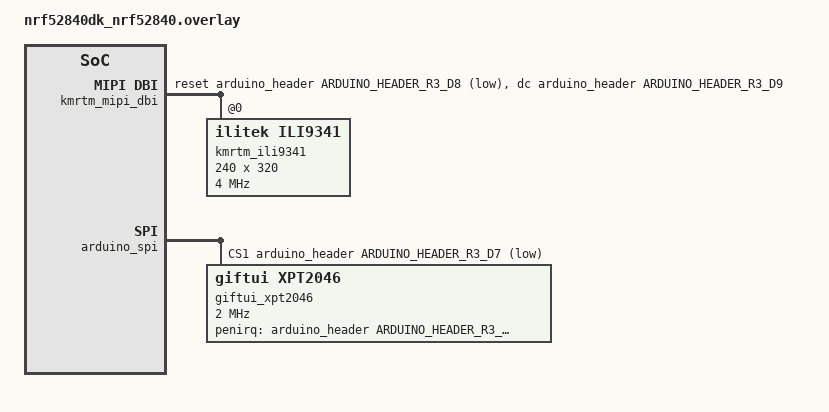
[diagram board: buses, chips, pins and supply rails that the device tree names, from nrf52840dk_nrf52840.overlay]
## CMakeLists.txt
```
cmake_minimum_required(VERSION 3.29)

find_package(Zephyr REQUIRED HINTS $ENV{ZEPHYR_BASE})

if(NOT DEFINED GIFTUI_SWIFT_TARGET)
    message(FATAL_ERROR "GIFTUI_SWIFT_TARGET must be supplied by scripts/nrf52840/build.sh")
endif()
set(CMAKE_Swift_COMPILER_TARGET "${GIFTUI_SWIFT_TARGET}")
set(CMAKE_Swift_COMPILATION_MODE wholemodule)
set(CMAKE_Swift_COMPILER_WORKS TRUE CACHE BOOL "Embedded Swift cross-compiler" FORCE)
project(GiftUIKMRTM24024SPI LANGUAGES C Swift)

target_sources(app PRIVATE
    src/display.c
    src/heap_disabled.c
    src/main.c
    src/xpt2046.c
)
target_include_directories(app PRIVATE include)

if(CONFIG_FP_HARDABI)
    set(giftui_swift_float_abi hard)
elseif(CONFIG_FP_SOFTABI)
    set(giftui_swift_float_abi soft)
else()
    message(FATAL_ERROR "Zephyr did not resolve an ARM float ABI")
endif()

get_target_property(zephyr_defines zephyr_interface INTERFACE_COMPILE_DEFINITIONS)
set(giftui_root "${CMAKE_CURRENT_SOURCE_DIR}/../../../..")
set(giftui_swift_module_dir "${CMAKE_CURRENT_BINARY_DIR}/swift-modules")

function(giftui_configure_swift_target target module_name)
    add_dependencies(${target} syscall_list_h_target)
    set_target_properties(${target} PROPERTIES
        Swift_MODULE_NAME "${module_name}"
        Swift_MODULE_DIRECTORY "${giftui_swift_module_dir}"
    )
    target_compile_options(${target} PRIVATE
        -parse-as-library
        -Osize
        -enable-experimental-feature Embedded
        -package-name GiftUI
        "SHELL:-Xfrontend -function-sections"
        "SHELL:-Xfrontend -disable-stack-protector"
        "SHELL:-Xcc -mfloat-abi=${giftui_swift_float_abi}"
        "SHELL:-Xcc -fshort-enums"
        "SHELL:-Xcc -fno-pic"
        "SHELL:-Xcc -fno-pie"
        "SHELL:-Xcc -I -Xcc ${ZEPHYR_SDK_INSTALL_DIR}/arm-zephyr-eabi/picolibc/include"
    )
    foreach(flag ${TOOLCHAIN_C_FLAGS})
        string(FIND "${flag}" "-imacro" is_imacro)
        string(FIND "${flag}" "-mfp16-format" is_mfp16)
        string(FIND "${flag}" "--sysroot" is_sysroot)
        if(is_imacro EQUAL -1 AND is_mfp16 EQUAL -1 AND is_sysroot EQUAL -1)
            target_compile_options(${target} PRIVATE "SHELL:-Xcc ${flag}")
        endif()
    endforeach()
    if(zephyr_defines)
        foreach(flag ${zephyr_defines})
            string(FIND "${flag}" "$<" is_expression)
            if(is_expression EQUAL -1)
                target_compile_options(${target} PRIVATE "SHELL:-Xcc -D${flag}")
            endif()
        endforeach()
    endif()
    target_include_directories(${target} PRIVATE
        "${giftui_swift_module_dir}"
        "$<TARGET_PROPERTY:app,INCLUDE_DIRECTORIES>"
    )
endfunction()

add_library(giftui_core OBJECT
    ${giftui_root}/Sources/GiftUI/GiftUI.swift
    ${giftui_root}/Sources/GiftUI/Geometry/Point.swift
    ${giftui_root}/Sources/GiftUI/Geometry/ProposedSize.swift
    ${giftui_root}/Sources/GiftUI/Geometry/Rect.swift
    ${giftui_root}/Sources/GiftUI/Geometry/Size.swift
    ${giftui_root}/Sources/GiftUI/Input/ActionID.swift
    ${giftui_root}/Sources/GiftUI/Input/HitRegion.swift
    ${giftui_root}/Sources/GiftUI/Input/InputEvent.swift
    ${giftui_root}/Sources/GiftUI/Layout/LayoutArithmetic.swift
    ${giftui_root}/Sources/GiftUI/Rendering/Color.swift
    ${giftui_root}/Sources/GiftUI/Rendering/RenderBackend.swift
    ${giftui_root}/Sources/GiftUI/Rendering/RenderOperation.swift
    ${giftui_root}/Sources/GiftUI/Rendering/RenderOperationSink.swift
    ${giftui_root}/Sources/GiftUI/Rendering/TextRun.swift
    ${giftui_root}/Sources/GiftUI/Runtime/RuntimeProfile.swift
    ${giftui_root}/Sources/GiftUI/View/PrimitiveView.swift
    ${giftui_root}/Sources/GiftUI/View/View.swift
    ${giftui_root}/Sources/GiftUI/View/ViewBuilder.swift
    ${giftui_root}/Sources/GiftUI/View/ViewVisitor.swift
    ${giftui_root}/Sources/GiftUI/Composition/ConditionalContent.swift
    ${giftui_root}/Sources/GiftUI/Composition/EmptyView.swift
    ${giftui_root}/Sources/GiftUI/Composition/OptionalContent.swift
    ${giftui_root}/Sources/GiftUI/Composition/TupleView.swift
    ${giftui_root}/Sources/GiftUI/Containers/HStack.swift
    ${giftui_root}/Sources/GiftUI/Containers/VStack.swift
    ${giftui_root}/Sources/GiftUI/PrimitiveViews/Button.swift
    ${giftui_root}/Sources/GiftUI/PrimitiveViews/Text.swift
)
giftui_configure_swift_target(giftui_core GiftUI)

add_library(giftui_builtin_font OBJECT
    ${giftui_root}/Sources/GiftUIBuiltinFont/BuiltinFont8x12.swift
    ${giftui_root}/Sources/GiftUIBuiltinFont/GiftUIBuiltinFont.swift
)
giftui_configure_swift_target(giftui_builtin_font GiftUIBuiltinFont)

add_library(giftui_runtime_static OBJECT
    ${giftui_root}/Sources/GiftUIRuntimeStatic/GiftUIRuntimeStatic.swift
    ${giftui_root}/Sources/GiftUIRuntimeStatic/StaticStateStorage.swift
    ${giftui_root}/Sources/GiftUIRuntimeStatic/StaticRuntime.swift
)
giftui_configure_swift_target(giftui_runtime_static GiftUIRuntimeStatic)
target_link_libraries(giftui_runtime_static PRIVATE giftui_core)

add_library(giftui_rgb565 OBJECT
    ${giftui_root}/Sources/GiftUIBackendRGB565/GiftUIBackendRGB565.swift
    ${giftui_root}/Sources/GiftUIBackendRGB565/RGB565Pixel.swift
    ${giftui_root}/Sources/GiftUIBackendRGB565/RGB565RetainedRenderer.swift
    ${giftui_root}/Sources/GiftUIBackendRGB565/RGB565RendererConfiguration.swift
    ${giftui_root}/Sources/GiftUIBackendRGB565/RGB565TileRenderer.swift
    ${giftui_root}/Sources/GiftUIBackendRGB565/RGB565TileStorage.swift
)
giftui_configure_swift_target(giftui_rgb565 GiftUIBackendRGB565)
target_link_libraries(giftui_rgb565 PRIVATE giftui_core giftui_builtin_font)

add_library(giftui_ads7846_input OBJECT
    ${giftui_root}/Sources/GiftUIInputADS7846/GiftUIInputADS7846.swift
    ${giftui_root}/Sources/GiftUIInputADS7846/ADS7846RawSample.swift
    ${giftui_root}/Sources/GiftUIInputADS7846/ADS7846Calibration.swift
    ${giftui_root}/Sources/GiftUIInputADS7846/ADS7846TouchProcessor.swift
)
giftui_configure_swift_target(giftui_ads7846_input GiftUIInputADS7846)
target_link_libraries(giftui_ads7846_input PRIVATE giftui_core)

add_library(giftui_ili9341_display OBJECT
    ${giftui_root}/Sources/GiftUIDisplayILI9341/GiftUIDisplayILI9341.swift
    ${giftui_root}/Sources/GiftUIDisplayILI9341/ILI9341Display.swift
    ${giftui_root}/Sources/GiftUIDisplayILI9341/ILI9341DisplayConfiguration.swift
    ${giftui_root}/Sources/GiftUIDisplayILI9341/ILI9341DisplayTransport.swift
)
giftui_configure_swift_target(giftui_ili9341_display GiftUIDisplayILI9341)
target_link_libraries(giftui_ili9341_display PRIVATE giftui_core giftui_rgb565)

add_library(giftui_thermostat_view OBJECT
    ${giftui_root}/Sources/GiftUIExampleThermostatPortableView/ThermostatModel.swift
    ${giftui_root}/Sources/GiftUIExampleThermostatPortableView/ThermostatPortableView.swift
)
giftui_configure_swift_target(
    giftui_thermostat_view
    GiftUIExampleThermostatPortableView
)
target_link_libraries(giftui_thermostat_view PRIVATE giftui_core)

add_library(app_swift OBJECT src/KMRTM24024SPIApplication.swift)
giftui_configure_swift_target(app_swift GiftUIKMRTM24024SPIApplication)
target_link_libraries(app_swift PRIVATE
    giftui_ads7846_input
    giftui_core
    giftui_ili9341_display
    giftui_rgb565
    giftui_runtime_static
    giftui_thermostat_view
)

target_link_libraries(app PRIVATE
    app_swift
    giftui_ads7846_input
    giftui_builtin_font
    giftui_core
    giftui_ili9341_display
    giftui_rgb565
    giftui_runtime_static
    giftui_thermostat_view
)
set_target_properties(app PROPERTIES LINKER_LANGUAGE C)
```

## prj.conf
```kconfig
CONFIG_GPIO=y
CONFIG_SPI=y
CONFIG_DISPLAY=y
CONFIG_FPU=y
CONFIG_SERIAL=y
CONFIG_CONSOLE=y
CONFIG_UART_CONSOLE=y
CONFIG_PRINTK=y
CONFIG_STDOUT_CONSOLE=y
CONFIG_BUILD_OUTPUT_HEX=y
CONFIG_BUILD_OUTPUT_BIN=y
CONFIG_OUTPUT_PRINT_MEMORY_USAGE=y
CONFIG_HEAP_MEM_POOL_SIZE=0
CONFIG_COMMON_LIBC_MALLOC_ARENA_SIZE=0
CONFIG_INIT_STACKS=y
CONFIG_THREAD_STACK_INFO=y
# Connected XPT2046 calibration plus the static renderer exceeded the former
# 144 KiB main stack by approximately 16 KiB during fallback rendering. Keep
# 180 KiB while the permanent stack-ownership work tracked in
# docs/GiftUI_KMRTM24024_Stack_Ownership_Proposal.md remains open. The linked
# image still stays below the repository's 192 KiB firmware RAM budget.
CONFIG_MAIN_STACK_SIZE=184320
```

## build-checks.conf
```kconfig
swift-entry-symbol=giftui_swift_display_application_run
required-symbol=GiftUIDisplayILI9341
required-symbol=GiftUIBackendRGB565
required-symbol=GiftUIRuntimeStatic
required-symbol=GiftUIInputADS7846
required-symbol=ThermostatModel.swift.obj
zero-heap=true
```

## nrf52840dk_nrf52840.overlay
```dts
#include <zephyr/dt-bindings/display/ili9xxx.h>
#include <zephyr/dt-bindings/gpio/arduino-header-r3.h>

/ {
	aliases {
		giftui-xpt2046 = &giftui_xpt2046;
	};

	chosen {
		zephyr,display = &kmrtm_ili9341;
	};

	kmrtm_mipi_dbi: kmrtm-mipi-dbi {
		compatible = "zephyr,mipi-dbi-spi";
		spi-dev = <&arduino_spi>;
		dc-gpios = <&arduino_header ARDUINO_HEADER_R3_D9 GPIO_ACTIVE_HIGH>;
		reset-gpios = <&arduino_header ARDUINO_HEADER_R3_D8 GPIO_ACTIVE_LOW>;
		write-only;
		#address-cells = <1>;
		#size-cells = <0>;

		kmrtm_ili9341: ili9341@0 {
			compatible = "ilitek,ili9341";
			mipi-max-frequency = <4000000>;
			reg = <0>;
			width = <240>;
			height = <320>;
			rotation = <0>;
			pixel-format = <ILI9XXX_PIXEL_FORMAT_RGB565>;
		};
	};
};

&arduino_spi {
	status = "okay";
	cs-gpios = <&arduino_header ARDUINO_HEADER_R3_D10 GPIO_ACTIVE_LOW>,
		     <&arduino_header ARDUINO_HEADER_R3_D7 GPIO_ACTIVE_LOW>;

	giftui_xpt2046: touch@1 {
		compatible = "giftui,xpt2046";
		reg = <1>;
		spi-max-frequency = <2000000>;
		penirq-gpios = <&arduino_header ARDUINO_HEADER_R3_D6 GPIO_ACTIVE_LOW>;
	};
};
```

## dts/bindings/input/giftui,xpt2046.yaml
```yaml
title: GiftUI project-local XPT2046 resistive touch controller

description: |
  XPT2046 transport used by the KMRTM24024-SPI nRF52840 application. The
  application owns sampling, filtering, calibration, and input dispatch.

compatible: "giftui,xpt2046"

include: spi-device.yaml

properties:
  penirq-gpios:
    type: phandle-array
    required: true
    description: Active-low pen interrupt input.
```

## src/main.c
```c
#include <stdint.h>
#include <zephyr/kernel.h>
#include <zephyr/sys/printk.h>

uint32_t giftui_display_uptime_ms(void)
{
    return k_uptime_get_32();
}

void giftui_display_sleep_ms(uint32_t milliseconds)
{
    k_msleep(milliseconds);
}

void giftui_display_log(int32_t event, int32_t value)
{
    switch (event) {
    case 1:
        printk("GiftUI KMRTM display initialization failed: %d\n", value);
        break;
    case 2:
        printk("GiftUI KMRTM static render failed: %d\n", value);
        break;
    case 3:
        printk("GiftUI KMRTM initial frame transferred in %d ms\n", value);
        break;
    case 4:
        printk("GiftUI XPT2046 ready: PENIRQ=%s\n",
               value > 0 ? "active" : "idle");
        break;
    case 5:
        printk("GiftUI XPT2046 initialization failed: %d; touch disabled\n",
               value);
        break;
    case 6:
        printk("GiftUI XPT2046 read failed: %d\n", value);
        break;
    case 7:
        printk("GiftUI XPT2046 calibration target %d\n", value);
        break;
    case 8:
        printk("GiftUI XPT2046 calibration failed: %d\n", value);
        break;
    case 9:
        printk("GiftUI XPT2046 calibration ready\n");
        break;
    case 10:
        printk("GiftUI thermostat target changed to %d\n", value);
        break;
    case 11:
        printk("GiftUI touch release to visible update: %d ms\n", value);
        break;
    case 12:
        printk("GiftUI KMRTM dirty update transferred in %d ms\n", value);
        break;
    default:
        printk("GiftUI KMRTM display event %d: %d\n", event, value);
        break;
    }
}

void giftui_touch_log_sample(int32_t target,
                             uint16_t x,
                             uint16_t y,
                             uint16_t z1,
                             uint16_t z2)
{
    printk("GiftUI XPT2046 target %d: x=%u y=%u z1=%u z2=%u\n",
           target, x, y, z1, z2);
}

void giftui_display_log_stack(void)
{
    size_t unused = 0U;
    const int result = k_thread_stack_space_get(k_current_get(), &unused);
    if (result != 0 || unused > CONFIG_MAIN_STACK_SIZE) {
        printk("GiftUI main stack measurement failed: %d\n", result);
        return;
    }
    printk("GiftUI main stack high-water: used=%u bytes, unused=%u bytes\n",
           (unsigned int)(CONFIG_MAIN_STACK_SIZE - unused),
           (unsigned int)unused);
}

extern int32_t giftui_swift_display_application_run(void);

int main(void)
{
    printk("GiftUI KMRTM24024-SPI profile: display=240x320@4MHz "
           "touch=XPT2046@2MHz\n");
    return giftui_swift_display_application_run();
}
```

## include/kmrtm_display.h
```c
#ifndef GIFTUI_KMRTM_DISPLAY_H
#define GIFTUI_KMRTM_DISPLAY_H

#include <stddef.h>
#include <stdint.h>

int32_t kmrtm_display_initialize(uint16_t width,
                                 uint16_t height,
                                 uint16_t orientation_degrees);
int32_t kmrtm_display_set_blanked(int32_t blanked);
int32_t kmrtm_display_write_rgb565(uint16_t x,
                                   uint16_t y,
                                   uint16_t width,
                                   uint16_t height,
                                   uint16_t pitch,
                                   const void *pixels,
                                   size_t byte_count);
int32_t kmrtm_display_fill_rgb565(uint16_t x,
                                  uint16_t y,
                                  uint16_t width,
                                  uint16_t height,
                                  uint16_t pixel);

#endif
```

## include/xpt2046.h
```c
#ifndef GIFTUI_XPT2046_H
#define GIFTUI_XPT2046_H

#include <stdint.h>

struct xpt2046_raw_sample {
    uint16_t x;
    uint16_t y;
    uint16_t z1;
    uint16_t z2;
};

int xpt2046_initialize(void);
int xpt2046_pen_is_down(void);
int xpt2046_read_raw(struct xpt2046_raw_sample *sample);
int xpt2046_read_raw_values(uint16_t *x,
                            uint16_t *y,
                            uint16_t *z1,
                            uint16_t *z2);

#endif
```

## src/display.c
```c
#include "kmrtm_display.h"

#include <errno.h>
#include <stdbool.h>
#include <zephyr/device.h>
#include <zephyr/drivers/display.h>
#include <zephyr/sys/byteorder.h>
#include <zephyr/sys/util.h>

#define KMRTM_TILE_ROWS 4U
#define KMRTM_MAX_WIDTH 240U

static const struct device *const display = DEVICE_DT_GET(DT_CHOSEN(zephyr_display));
static uint8_t solid_tile[KMRTM_MAX_WIDTH * KMRTM_TILE_ROWS * 2U];

static enum display_orientation orientation_from_degrees(uint16_t degrees)
{
    switch (degrees) {
    case 0U:
        return DISPLAY_ORIENTATION_NORMAL;
    case 90U:
        return DISPLAY_ORIENTATION_ROTATED_90;
    case 180U:
        return DISPLAY_ORIENTATION_ROTATED_180;
    case 270U:
        return DISPLAY_ORIENTATION_ROTATED_270;
    default:
        return (enum display_orientation)-1;
    }
}

int32_t kmrtm_display_initialize(uint16_t width,
                                 uint16_t height,
                                 uint16_t orientation_degrees)
{
    if (!device_is_ready(display)) {
        return -ENODEV;
    }

    struct display_capabilities capabilities;
    display_get_capabilities(display, &capabilities);
    const enum display_orientation orientation =
        orientation_from_degrees(orientation_degrees);
    if (orientation < DISPLAY_ORIENTATION_NORMAL ||
        capabilities.x_resolution != width ||
        capabilities.y_resolution != height ||
        capabilities.current_orientation != orientation ||
        capabilities.current_pixel_format != PIXEL_FORMAT_RGB_565) {
        return -ENOTSUP;
    }
    return 0;
}

int32_t kmrtm_display_set_blanked(int32_t blanked)
{
    return blanked != 0 ? display_blanking_on(display)
                        : display_blanking_off(display);
}

int32_t kmrtm_display_write_rgb565(uint16_t x,
                                   uint16_t y,
                                   uint16_t width,
                                   uint16_t height,
                                   uint16_t pitch,
                                   const void *pixels,
                                   size_t byte_count)
{
    if (width == 0U || height == 0U || pitch != width || pixels == NULL ||
        byte_count > UINT32_MAX ||
        (size_t)pitch * 2U * height > byte_count) {
        return -EINVAL;
    }
    const struct display_buffer_descriptor descriptor = {
        .buf_size = (uint32_t)byte_count,
        .width = width,
        .height = height,
        .pitch = pitch,
        .frame_incomplete = false,
    };
    return display_write(display, x, y, &descriptor, pixels);
}

int32_t kmrtm_display_fill_rgb565(uint16_t x,
                                  uint16_t y,
                                  uint16_t width,
                                  uint16_t height,
                                  uint16_t pixel)
{
    if (width == 0U || width > KMRTM_MAX_WIDTH || height == 0U) {
        return -EINVAL;
    }
    for (size_t index = 0; index < width * KMRTM_TILE_ROWS; index++) {
        sys_put_be16(pixel, &solid_tile[index * 2U]);
    }

    uint16_t row = 0U;
    while (row < height) {
        const uint16_t rows = MIN(KMRTM_TILE_ROWS, height - row);
        const size_t byte_count = (size_t)width * rows * 2U;
        const int result = kmrtm_display_write_rgb565(
            x, y + row, width, rows, width, solid_tile, byte_count);
        if (result != 0) {
            return result;
        }
        row += rows;
    }
    return 0;
}
```

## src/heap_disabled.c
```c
#include <errno.h>
#include <stddef.h>

int posix_memalign(void **memptr, size_t alignment, size_t size)
{
    (void)alignment;
    (void)size;
    if (memptr != NULL) {
        *memptr = NULL;
    }
    return ENOMEM;
}
```

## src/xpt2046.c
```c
#include "xpt2046.h"

#include <errno.h>
#include <stddef.h>
#include <zephyr/drivers/gpio.h>
#include <zephyr/drivers/spi.h>

#define XPT2046_NODE DT_ALIAS(giftui_xpt2046)

/* 12-bit differential conversions with PD1/PD0 both zero. Powering down
 * between conversions leaves the active-low PENIRQ detector enabled. */
#define XPT2046_COMMAND_X 0xD0U
#define XPT2046_COMMAND_Y 0x90U
#define XPT2046_COMMAND_Z1 0xB0U
#define XPT2046_COMMAND_Z2 0xC0U

static const struct spi_dt_spec touch_spi = SPI_DT_SPEC_GET(
    XPT2046_NODE,
    SPI_OP_MODE_MASTER | SPI_WORD_SET(8) | SPI_TRANSFER_MSB);
static const struct gpio_dt_spec touch_penirq =
    GPIO_DT_SPEC_GET(XPT2046_NODE, penirq_gpios);

static int read_channel(uint8_t command, uint16_t *value)
{
    uint8_t transmit[3] = {command, 0U, 0U};
    uint8_t receive[3] = {0U, 0U, 0U};
    const struct spi_buf transmit_buffer = {
        .buf = transmit,
        .len = sizeof(transmit),
    };
    const struct spi_buf receive_buffer = {
        .buf = receive,
        .len = sizeof(receive),
    };
    const struct spi_buf_set transmit_buffers = {
        .buffers = &transmit_buffer,
        .count = 1U,
    };
    const struct spi_buf_set receive_buffers = {
        .buffers = &receive_buffer,
        .count = 1U,
    };

    const int result = spi_transceive_dt(
        &touch_spi,
        &transmit_buffers,
        &receive_buffers);
    if (result != 0) {
        return result;
    }

    *value = (uint16_t)((((uint16_t)receive[1] << 8) | receive[2]) >> 3) &
             0x0FFFU;
    return 0;
}

int xpt2046_initialize(void)
{
    if (!spi_is_ready_dt(&touch_spi) ||
        !gpio_is_ready_dt(&touch_penirq)) {
        return -ENODEV;
    }

    if (spi_cs_is_gpio_dt(&touch_spi)) {
        const int result = gpio_pin_configure_dt(
            &touch_spi.config.cs.gpio,
            GPIO_OUTPUT_INACTIVE);
        if (result != 0) {
            return result;
        }
    }

    /* The nRF pull-up gives a defined idle level for controller variants or
     * modules that do not provide an on-board PENIRQ pull-up. */
    return gpio_pin_configure_dt(
        &touch_penirq,
        GPIO_INPUT | GPIO_PULL_UP);
}

int xpt2046_pen_is_down(void)
{
    return gpio_pin_get_dt(&touch_penirq);
}

int xpt2046_read_raw(struct xpt2046_raw_sample *sample)
{
    if (sample == NULL) {
        return -EINVAL;
    }

    int result = read_channel(XPT2046_COMMAND_X, &sample->x);
    if (result != 0) {
        return result;
    }
    result = read_channel(XPT2046_COMMAND_Y, &sample->y);
    if (result != 0) {
        return result;
    }
    result = read_channel(XPT2046_COMMAND_Z1, &sample->z1);
    if (result != 0) {
        return result;
    }
    return read_channel(XPT2046_COMMAND_Z2, &sample->z2);
}

int xpt2046_read_raw_values(uint16_t *x,
                            uint16_t *y,
                            uint16_t *z1,
                            uint16_t *z2)
{
    if (x == NULL || y == NULL || z1 == NULL || z2 == NULL) {
        return -EINVAL;
    }

    struct xpt2046_raw_sample sample;
    const int result = xpt2046_read_raw(&sample);
    if (result != 0) {
        return result;
    }
    *x = sample.x;
    *y = sample.y;
    *z1 = sample.z1;
    *z2 = sample.z2;
    return 0;
}
```
